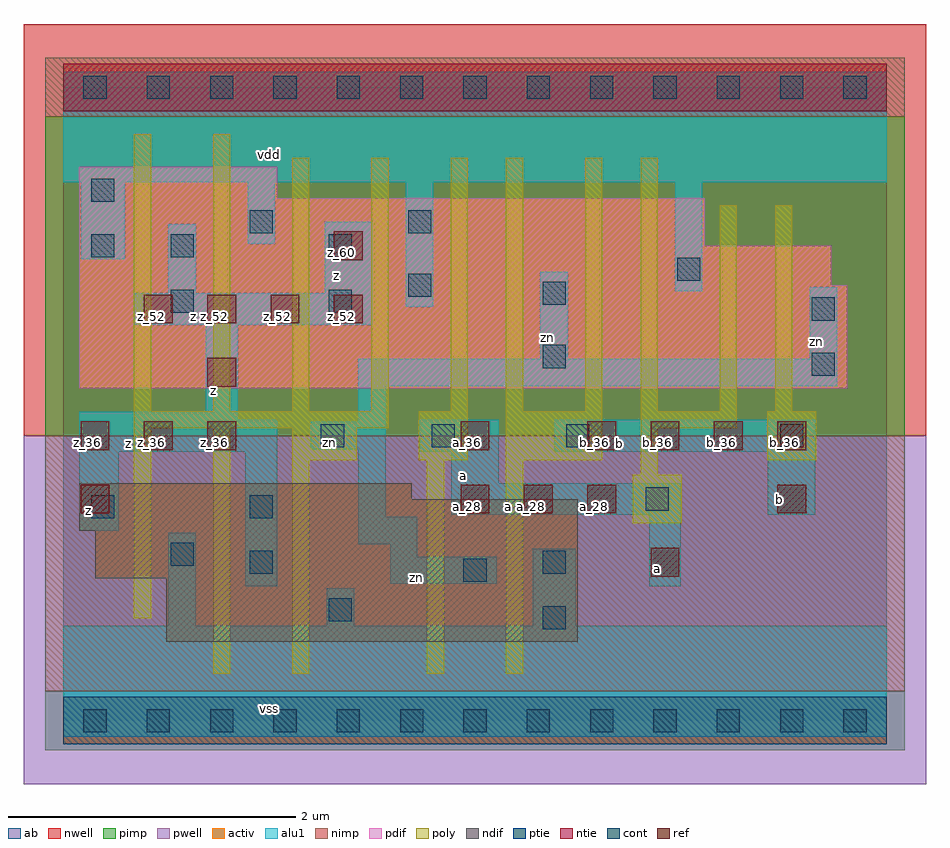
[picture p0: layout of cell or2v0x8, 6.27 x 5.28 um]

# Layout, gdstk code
import gdstk
lib = gdstk.Library(unit=1e-6, precision=2.5e-09)
def R(c, l, rs):  # rectangles x0, y0, x1, y1
    for r in rs: c.add(gdstk.rectangle(r[:2], r[2:], *l))
def A(c, l, x, y, w, h, nx, ny, dx, dy):  # array of equal rectangles
    R(c, l, [(x+i*dx, y+j*dy, x+i*dx+w, y+j*dy+h) for i in range(nx) for j in range(ny)])
ndif = (3, 0)
pdif = (4, 0)
ntie = (5, 0)
ptie = (6, 0)
ref = (24, 0)
cont = (25, 0)
pwell = (41, 0)
nwell = (42, 0)
activ = (43, 0)
pimp = (44, 0)
nimp = (45, 0)
poly = (46, 0)
alu1 = (49, 0)
ab = (63, 0)

or2v0x8 = lib.new_cell('or2v0x8')
R(or2v0x8, ndif, [(0.715,0.55,3.575,0.99), (0.22,0.99,3.575,1.32), (0.11,1.32,3.575,1.54), (0.11,1.54,2.42,1.65)])
R(or2v0x8, pdif, [(0.11,2.31,5.445,3.025), (0.11,3.025,5.335,3.3), (0.11,3.3,4.455,3.63), (0.11,3.63,1.485,3.85)])
R(or2v0x8, ntie, [(0,4.235,5.72,4.565)])
R(or2v0x8, ptie, [(0,-0.165,5.72,0.165)])
A(or2v0x8, ref, 2.76, 1.44, 0.2, 0.2, 3, 1, 0.44, 0)
A(or2v0x8, ref, 0.12, 1.88, 0.2, 0.2, 3, 1, 0.44, 0)
A(or2v0x8, ref, 3.64, 1.88, 0.2, 0.2, 4, 1, 0.44, 0)
A(or2v0x8, ref, 0.56, 2.76, 0.2, 0.2, 4, 1, 0.44, 0)
R(or2v0x8, ref, [(4.08,1,4.28,1.2), (0.12,1.44,0.32,1.64), (4.96,1.44,5.16,1.64), (2.76,1.88,2.96,2.08), (1,2.32,1.2,2.52), (1.88,3.2,2.08,3.4)])
A(or2v0x8, cont, 0.14, -0.08, 0.16, 0.16, 13, 2, 0.44, 4.4)
R(or2v0x8, cont, [(3.33,0.635,3.49,0.795), (1.845,0.69,2.005,0.85), (2.78,0.965,2.94,1.125), (1.295,1.02,1.455,1.18), (3.33,1.02,3.49,1.18), (0.745,1.075,0.905,1.235), (0.195,1.405,0.355,1.565), (1.295,1.405,1.455,1.565), (4.045,1.46,4.205,1.62), (1.79,1.9,1.95,2.06), (2.56,1.9,2.72,2.06), (3.495,1.9,3.655,2.06), (4.98,1.9,5.14,2.06), (5.2,2.395,5.36,2.555), (3.33,2.45,3.49,2.61), (5.2,2.78,5.36,2.94), (0.745,2.835,0.905,2.995), (1.845,2.835,2.005,2.995), (3.33,2.89,3.49,3.05), (2.395,2.945,2.555,3.105), (4.265,3.055,4.425,3.215), (0.195,3.22,0.355,3.38), (0.745,3.22,0.905,3.38), (1.845,3.22,2.005,3.38), (1.295,3.385,1.455,3.545), (2.395,3.385,2.555,3.545), (0.195,3.605,0.355,3.765)])
R(or2v0x8, pwell, [(-0.275,-0.44,5.995,1.98)])
R(or2v0x8, nwell, [(-0.275,1.98,5.995,4.84)])
R(or2v0x8, activ, [(0,-0.165,5.72,0.165), (0.715,0.55,3.575,0.99), (0.22,0.99,3.575,1.32), (0.11,1.32,3.575,1.54), (0.11,1.54,2.42,1.65), (0.11,2.31,5.445,3.025), (0.11,3.025,5.335,3.3), (0.11,3.3,4.455,3.63), (0.11,3.63,1.485,3.85), (0,4.235,5.72,4.565)])
R(or2v0x8, pimp, [(-0.125,-0.205,5.845,0.205), (-0.125,1.98,5.845,4.195)])
R(or2v0x8, nimp, [(-0.125,0.205,5.845,1.98), (-0.125,4.195,5.845,4.605)])
A(or2v0x8, poly, 1.59, 2.15, 0.12, 1.76, 3, 1, 0.55, 0)
R(or2v0x8, poly, [(1.04,0.325,1.16,2.03), (1.59,0.325,1.71,1.81), (2.525,0.325,2.645,1.81), (3.075,0.325,3.195,1.81), (0.49,0.71,0.61,2.03), (3.955,1.37,4.295,1.71), (4.01,1.71,4.13,2.03), (1.59,1.81,2.04,2.03), (2.47,1.81,2.81,2.15), (3.075,1.81,3.745,2.15), (4.89,1.81,5.23,2.15), (0.49,2.03,2.26,2.15), (4.01,2.03,4.68,2.15), (0.49,2.15,0.61,4.075), (1.04,2.15,1.16,4.075), (3.075,2.15,3.195,3.91), (3.625,2.15,3.745,3.91), (4.01,2.15,4.13,3.91), (4.56,2.15,4.68,3.58), (4.945,2.15,5.065,3.58)])
R(or2v0x8, alu1, [(0,-0.11,5.72,0.66), (0.73,0.66,0.92,1.305), (1.83,0.66,2.02,0.92), (3.26,0.66,3.56,1.195), (1.265,0.935,1.485,1.87), (4.07,0.935,4.29,1.43), (2.27,0.95,3.01,1.14), (2.27,1.14,2.46,1.225), (2.05,1.225,2.46,1.415), (0.11,1.32,0.385,1.87), (2.05,1.415,2.24,1.885), (2.695,1.43,4.29,1.65), (4.895,1.43,5.225,1.87), (2.695,1.65,3.025,1.87), (0.11,1.87,1.485,2.09), (2.475,1.87,3.025,2.09), (3.41,1.87,5.225,2.09), (1.72,1.885,2.24,2.075), (2.05,2.075,2.24,2.325), (0.11,2.09,1.21,2.145), (0.99,2.145,1.21,2.75), (2.05,2.325,5.375,2.515), (3.315,2.515,3.505,3.12), (5.185,2.515,5.375,3.01), (0.495,2.75,2.145,2.97), (2.38,2.875,2.57,3.74), (0.73,2.97,0.92,3.45), (1.815,2.97,2.145,3.465), (4.25,2.985,4.44,3.74), (0.125,3.205,0.425,3.74), (1.28,3.315,1.47,3.74), (0,3.74,5.72,4.51)])
R(or2v0x8, ab, [(0,0,5.72,4.4)])
or2v0x8.add(gdstk.Label('vss', (1.43,0.0825), layer=49, texttype=0))
or2v0x8.add(gdstk.Label('a', (4.125,1.0575), layer=49, texttype=0))
or2v0x8.add(gdstk.Label('zn', (2.455,0.9975), layer=49, texttype=0))
or2v0x8.add(gdstk.Label('b', (4.9775,1.54), layer=49, texttype=0))
or2v0x8.add(gdstk.Label('a', (3.0925,1.485), layer=49, texttype=0))
or2v0x8.add(gdstk.Label('a', (2.7775,1.705), layer=49, texttype=0))
or2v0x8.add(gdstk.Label('b', (3.8625,1.925), layer=49, texttype=0))
or2v0x8.add(gdstk.Label('z', (0.1775,1.4575), layer=49, texttype=0))
or2v0x8.add(gdstk.Label('zn', (1.85,1.9325), layer=49, texttype=0))
or2v0x8.add(gdstk.Label('z', (0.4525,1.925), layer=49, texttype=0))
or2v0x8.add(gdstk.Label('zn', (5.2325,2.6375), layer=49, texttype=0))
or2v0x8.add(gdstk.Label('zn', (3.3625,2.665), layer=49, texttype=0))
or2v0x8.add(gdstk.Label('z', (1.045,2.295), layer=49, texttype=0))
or2v0x8.add(gdstk.Label('z', (0.9075,2.805), layer=49, texttype=0))
or2v0x8.add(gdstk.Label('z', (1.8975,3.0925), layer=49, texttype=0))
or2v0x8.add(gdstk.Label('vdd', (1.43,3.9325), layer=49, texttype=0))
or2v0x8.add(gdstk.Label('z_36', (0.61,1.93), layer=24, texttype=0))
or2v0x8.add(gdstk.Label('z_52', (0.61,2.81), layer=24, texttype=0))
or2v0x8.add(gdstk.Label('z_36', (1.05,1.93), layer=24, texttype=0))
or2v0x8.add(gdstk.Label('z_44', (1.05,2.37), layer=24, texttype=0))
or2v0x8.add(gdstk.Label('z_52', (1.05,2.81), layer=24, texttype=0))
or2v0x8.add(gdstk.Label('z_52', (1.49,2.81), layer=24, texttype=0))
or2v0x8.add(gdstk.Label('z_52', (1.93,2.81), layer=24, texttype=0))
or2v0x8.add(gdstk.Label('z_60', (1.93,3.25), layer=24, texttype=0))
or2v0x8.add(gdstk.Label('z_28', (0.17,1.49), layer=24, texttype=0))
or2v0x8.add(gdstk.Label('z_36', (0.17,1.93), layer=24, texttype=0))
or2v0x8.add(gdstk.Label('a_28', (2.81,1.49), layer=24, texttype=0))
or2v0x8.add(gdstk.Label('a_36', (2.81,1.93), layer=24, texttype=0))
or2v0x8.add(gdstk.Label('a_28', (3.25,1.49), layer=24, texttype=0))
or2v0x8.add(gdstk.Label('a_28', (3.69,1.49), layer=24, texttype=0))
or2v0x8.add(gdstk.Label('b_36', (3.69,1.93), layer=24, texttype=0))
or2v0x8.add(gdstk.Label('a_20', (4.13,1.05), layer=24, texttype=0))
or2v0x8.add(gdstk.Label('b_36', (4.13,1.93), layer=24, texttype=0))
or2v0x8.add(gdstk.Label('b_36', (4.57,1.93), layer=24, texttype=0))
or2v0x8.add(gdstk.Label('b_28', (5.01,1.49), layer=24, texttype=0))
or2v0x8.add(gdstk.Label('b_36', (5.01,1.93), layer=24, texttype=0))

lib.write_gds('or2v0x8.gds')
